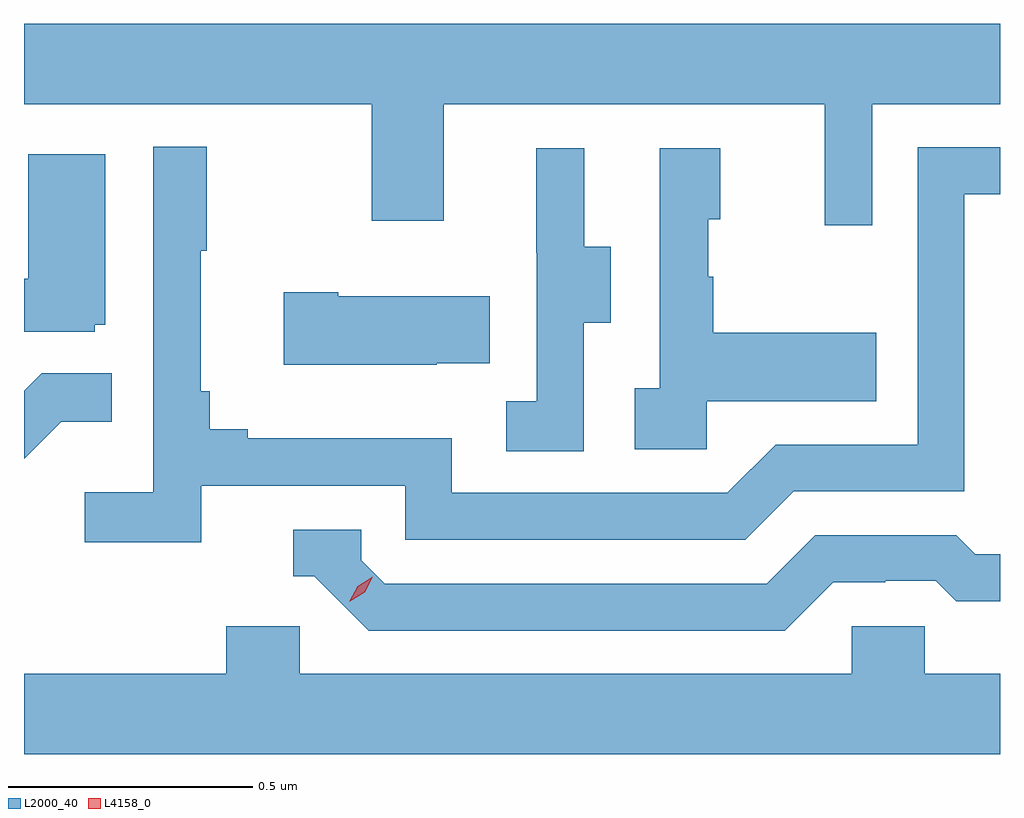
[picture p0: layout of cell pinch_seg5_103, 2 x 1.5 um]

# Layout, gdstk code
import gdstk
lib = gdstk.Library(unit=1e-6, precision=1e-09)
def P(c, l, *ps):  # polygons
    for p in ps: c.add(gdstk.Polygon(p, *l))
L2000_40 = (2000, 40)
L4158_0 = (4158, 0)

pinch_seg5_103 = lib.new_cell('pinch_seg5_103')
P(pinch_seg5_103, L2000_40, [(1042.419,888.728),(1042.681,888.728),(1042.681,888.892),(1040.681,888.892),(1040.681,888.728),(1041.394,888.728),(1041.394,888.489),(1041.541,888.489),(1041.541,888.728),(1042.322,888.728),(1042.322,888.48),(1042.419,888.48)],
  [(1041.044,887.946),(1041.462,887.946),(1041.462,887.835),(1042.159,887.835),(1042.258,887.934),(1042.608,887.934),(1042.608,888.543),(1042.681,888.543),(1042.681,888.639),(1042.512,888.639),(1042.512,888.03),(1042.221,888.03),(1042.122,887.931),(1041.558,887.931),(1041.558,888.043),(1041.139,888.043),(1041.139,888.062),(1041.062,888.062),(1041.062,888.139),(1041.043,888.139),(1041.043,888.427),(1041.055,888.427),(1041.055,888.64),(1040.946,888.64),(1040.946,887.932),(1040.805,887.932),(1040.805,887.83),(1041.044,887.83)],
  [(1042.08,888.119),(1042.427,888.119),(1042.427,888.259),(1042.093,888.259),(1042.093,888.374),(1042.083,888.374),(1042.083,888.492),(1042.108,888.492),(1042.108,888.637),(1041.984,888.637),(1041.984,888.146),(1041.933,888.146),(1041.933,888.021),(1042.08,888.021)],
  [(1041.828,888.28),(1041.883,888.28),(1041.883,888.435),(1041.829,888.435),(1041.829,888.637),(1041.731,888.637),(1041.731,888.423),(1041.732,888.423),(1041.732,888.119),(1041.669,888.119),(1041.669,888.016),(1041.828,888.016)],
  [(1040.826,888.276),(1040.848,888.276),(1040.848,888.625),(1040.69,888.625),(1040.69,888.37),(1040.681,888.37),(1040.681,888.261),(1040.826,888.261)],
  [(1041.527,888.197),(1041.635,888.197),(1041.635,888.334),(1041.325,888.334),(1041.325,888.342),(1041.213,888.342),(1041.213,888.194),(1041.527,888.194)],
  [(1040.757,888.077),(1040.861,888.077),(1040.861,888.176),(1040.717,888.176),(1040.681,888.14),(1040.681,888.001)],
  [(1042.339,887.748),(1042.446,887.748),(1042.446,887.751),(1042.549,887.751),(1042.591,887.709),(1042.681,887.709),(1042.681,887.805),(1042.63,887.805),(1042.591,887.844),(1042.302,887.844),(1042.203,887.745),(1041.42,887.745),(1041.372,887.793),(1041.372,887.856),(1041.233,887.856),(1041.233,887.76),(1041.276,887.76),(1041.387,887.649),(1042.24,887.649)],
  [(1042.681,887.56),(1042.527,887.56),(1042.527,887.658),(1042.377,887.658),(1042.377,887.56),(1041.246,887.56),(1041.246,887.658),(1041.095,887.658),(1041.095,887.56),(1040.681,887.56),(1040.681,887.396),(1042.681,887.396)])
P(pinch_seg5_103, L4158_0, [(1041.348,887.708),(1041.348,887.708),(1041.365,887.74),(1041.396,887.759),(1041.396,887.759),(1041.396,887.759),(1041.379,887.727),(1041.348,887.708)])

lib.write_gds('pinch_seg5_103.gds')
